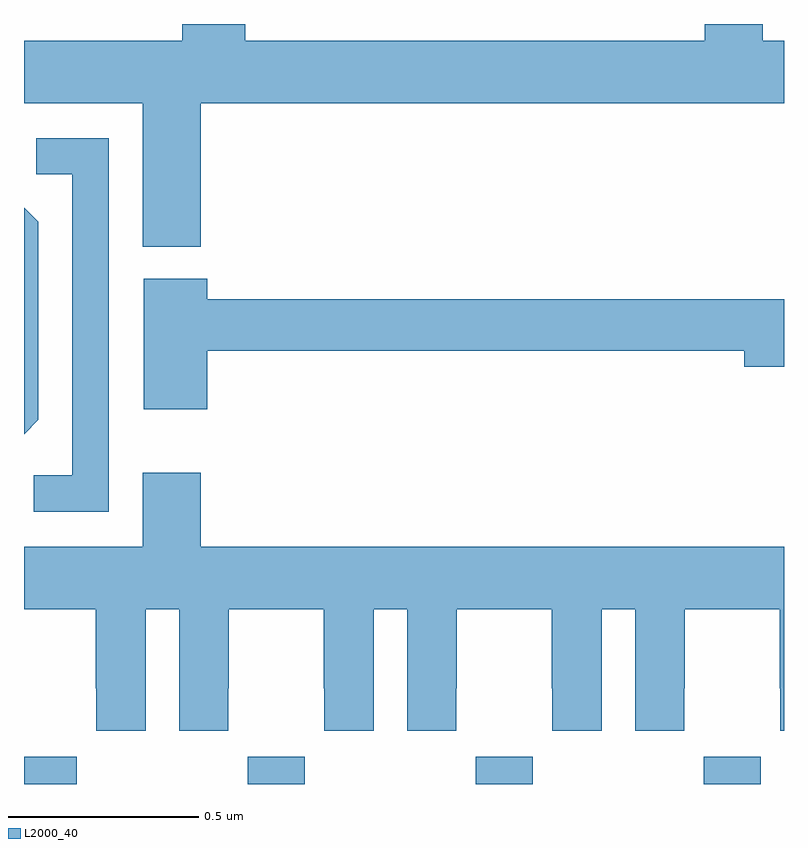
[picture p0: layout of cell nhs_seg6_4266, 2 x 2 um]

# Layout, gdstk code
import gdstk
lib = gdstk.Library(unit=1e-6, precision=1e-09)
def R(c, l, rs):  # rectangles x0, y0, x1, y1
    for r in rs: c.add(gdstk.rectangle(r[:2], r[2:], *l))
def A(c, l, x, y, w, h, nx, ny, dx, dy):  # array of equal rectangles
    R(c, l, [(x+i*dx, y+j*dy, x+i*dx+w, y+j*dy+h) for i in range(nx) for j in range(ny)])
def P(c, l, *ps):  # polygons
    for p in ps: c.add(gdstk.Polygon(p, *l))
L2000_40 = (2000, 40)

nhs_seg6_4266 = lib.new_cell('nhs_seg6_4266')
A(nhs_seg6_4266, L2000_40, 167.589, 989.5, 0.15, 0.072, 3, 1, 0.6, 0)
R(nhs_seg6_4266, L2000_40, [(167,989.5,167.139,989.572)])
P(nhs_seg6_4266, L2000_40, [(167.465,991.292),(169,991.292),(169,991.456),(168.944,991.456),(168.944,991.5),(168.792,991.5),(168.792,991.456),(167.582,991.456),(167.582,991.5),(167.417,991.5),(167.417,991.456),(167,991.456),(167,991.292),(167.312,991.292),(167.312,990.914),(167.465,990.914)],
  [(167.223,991.2),(167.032,991.2),(167.032,991.105),(167.127,991.105),(167.127,990.312),(167.025,990.312),(167.025,990.216),(167.223,990.216)],
  [(167.037,990.458),(167.037,990.98),(167,991.017),(167,990.421)],
  [(167.482,990.64),(168.896,990.64),(168.896,990.598),(169,990.598),(169,990.776),(167.482,990.776),(167.482,990.829),(167.315,990.829),(167.315,990.486),(167.482,990.486)],
  [(167.32,989.96),(167.408,989.96),(167.408,989.64),(167.538,989.64),(167.538,989.752),(167.539,989.752),(167.539,989.96),(167.789,989.96),(167.789,989.752),(167.79,989.752),(167.79,989.64),(167.92,989.64),(167.92,989.96),(168.008,989.96),(168.008,989.64),(168.138,989.64),(168.138,989.752),(168.139,989.752),(168.139,989.96),(168.389,989.96),(168.389,989.752),(168.39,989.752),(168.39,989.64),(168.52,989.64),(168.52,989.96),(168.608,989.96),(168.608,989.64),(168.738,989.64),(168.738,989.752),(168.739,989.752),(168.739,989.96),(168.989,989.96),(168.989,989.752),(168.99,989.752),(168.99,989.64),(169,989.64),(169,990.124),(167.465,990.124),(167.465,990.319),(167.312,990.319),(167.312,990.124),(167,990.124),(167,989.96),(167.189,989.96),(167.189,989.752),(167.19,989.752),(167.19,989.64),(167.32,989.64)])

lib.write_gds('nhs_seg6_4266.gds')
